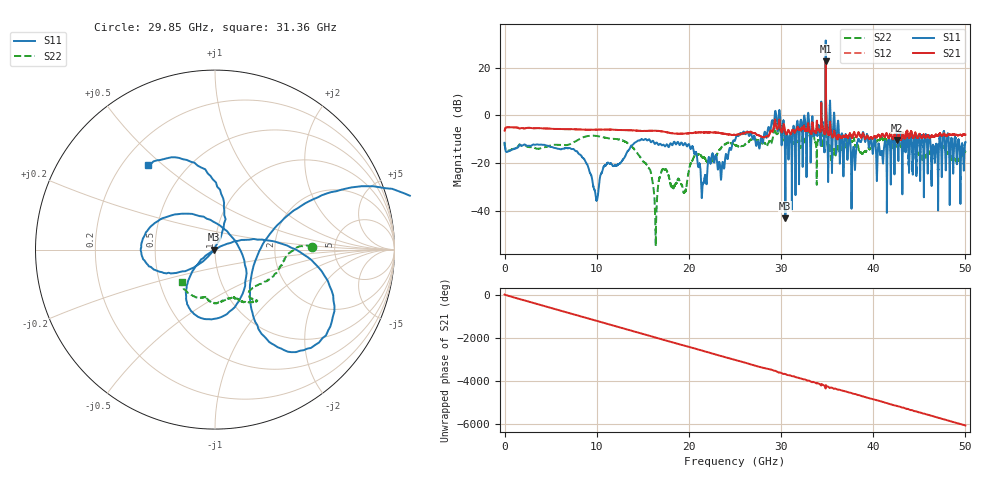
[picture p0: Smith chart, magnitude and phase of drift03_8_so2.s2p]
!Created with skrf (http://scikit-rf.org).
# Hz S RI R 50.0
!freq ReS11 ImS11 ReS21 ImS21 ReS12 ImS12 ReS22 ImS22
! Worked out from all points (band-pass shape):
!   10001 points, 300 kHz to 50 GHz, reference 50 ohm
!   highest |S21| = 22.57 dB at 34.85 GHz (marker M1); lowest = -10.4 dB at 42.57 GHz (marker M2)
!   |S21| within 3 dB of the highest: 34.8436 GHz to 34.84667 GHz (3.068 MHz wide, 0.0088 % of centre)
!   lowest |S11| = -43.1 dB at 30.47 GHz (marker M3), VSWR 1.01, Z = 49.3 - j0.0724 ohm
!   |S11| at or under -10 dB: start of sweep to 15.22 GHz; 15.33 GHz to 25.05 GHz (9.727 GHz wide, 48.2 % of centre); 40.22 GHz to 41.66 GHz (1.448 GHz wide, 3.54 % of centre) (the widest 3 of 58)
!   |S22| runs from -54.9 to 13.9 dB; largest |S21 - S12| = 2
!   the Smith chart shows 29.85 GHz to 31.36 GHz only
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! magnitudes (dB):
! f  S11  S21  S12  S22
! 300 kHz  -11.6  -6.5  -6.5  -11.4
! 8.335 GHz  -17.1  -6.0  -6.0  -9.6
! 9.955 GHz  -35.7  -6.1  -6.1  -8.7
! 11 GHz  -21.0  -6.1  -6.0  -9.5
! 15.49 GHz  -10.6  -6.6  -6.6  -21.3
! 16.36 GHz  -11.9  -6.5  -6.5  -46.0
! 16.67 GHz  -12.4  -6.6  -6.5  -29.1
! 17.32 GHz  -12.7  -7.0  -6.9  -22.8
! 19.53 GHz  -11.8  -7.7  -7.7  -32.2
! 20.21 GHz  -14.1  -7.4  -7.5  -20.1
! 21.56 GHz  -28.5  -7.2  -7.2  -17.8
! 25 GHz  -10.6  -8.3  -8.3  -12.5
! 29.6 GHz  -5.6  -5.7  -5.9  -7.9
! 30.47 GHz  -43.1  -7.2  -7.2  -9.1
! 33.34 GHz  -3.7  -7.0  -6.8  -9.5
! 34.85 GHz  31.3  22.6  22.5  13.9
! 35.63 GHz  -6.1  -9.3  -9.2  -15.7
! 37.84 GHz  -13.6  -8.2  -8.2  -9.8
! 39.07 GHz  -10.4  -9.4  -9.5  -15.2
! 41.67 GHz  -10.0  -9.6  -9.5  -11.6
! 42.57 GHz  -9.1  -10.4  -10.4  -13.1
! 50 GHz  -11.2  -8.1  -8.2  -15.5
